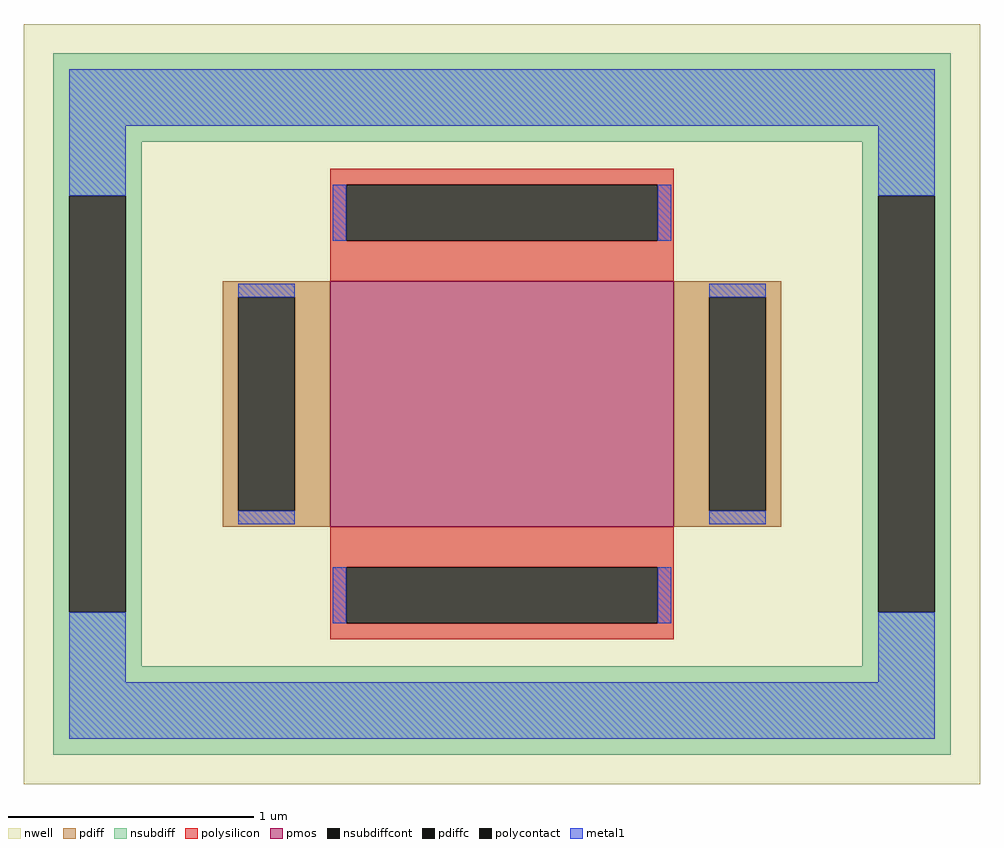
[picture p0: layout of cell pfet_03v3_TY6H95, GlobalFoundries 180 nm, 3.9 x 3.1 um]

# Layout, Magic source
magic
tech gf180mcuD
magscale 1 10
<< nwell >>
rect -390 -310 390 310
<< pmos >>
rect -140 -100 140 100
<< pdiff >>
rect -228 87 -140 100
rect -228 -87 -215 87
rect -169 -87 -140 87
rect -228 -100 -140 -87
rect 140 87 228 100
rect 140 -87 169 87
rect 215 -87 228 87
rect 140 -100 228 -87
<< pdiffc >>
rect -215 -87 -169 87
rect 169 -87 215 87
<< nsubdiff >>
rect -366 214 366 286
rect -366 170 -294 214
rect -366 -170 -353 170
rect -307 -170 -294 170
rect 294 170 366 214
rect -366 -214 -294 -170
rect 294 -170 307 170
rect 353 -170 366 170
rect 294 -214 366 -170
rect -366 -286 366 -214
<< nsubdiffcont >>
rect -353 -170 -307 170
rect 307 -170 353 170
<< polysilicon >>
rect -140 179 140 192
rect -140 133 -127 179
rect 127 133 140 179
rect -140 100 140 133
rect -140 -133 140 -100
rect -140 -179 -127 -133
rect 127 -179 140 -133
rect -140 -192 140 -179
<< polycontact >>
rect -127 133 127 179
rect -127 -179 127 -133
<< metal1 >>
rect -353 227 353 273
rect -353 170 -307 227
rect -138 133 -127 179
rect 127 133 138 179
rect 307 170 353 227
rect -215 87 -169 98
rect -215 -98 -169 -87
rect 169 87 215 98
rect 169 -98 215 -87
rect -353 -227 -307 -170
rect -138 -179 -127 -133
rect 127 -179 138 -133
rect 307 -227 353 -170
rect -353 -273 353 -227
<< properties >>
string FIXED_BBOX -330 -250 330 250
string gencell pfet_03v3
string library gf180mcu
string parameters w 1.0 l 1.4 m 1 nf 1 diffcov 100 polycov 100 guard 1 glc 1 grc 1 gtc 0 gbc 0 tbcov 100 rlcov 100 topc 1 botc 1 poverlap 0 doverlap 1 lmin 0.28 wmin 0.22 class mosfet full_metal 1 compatible {pfet_03v3 pfet_05v0 pfet_06v0}
<< end >>
